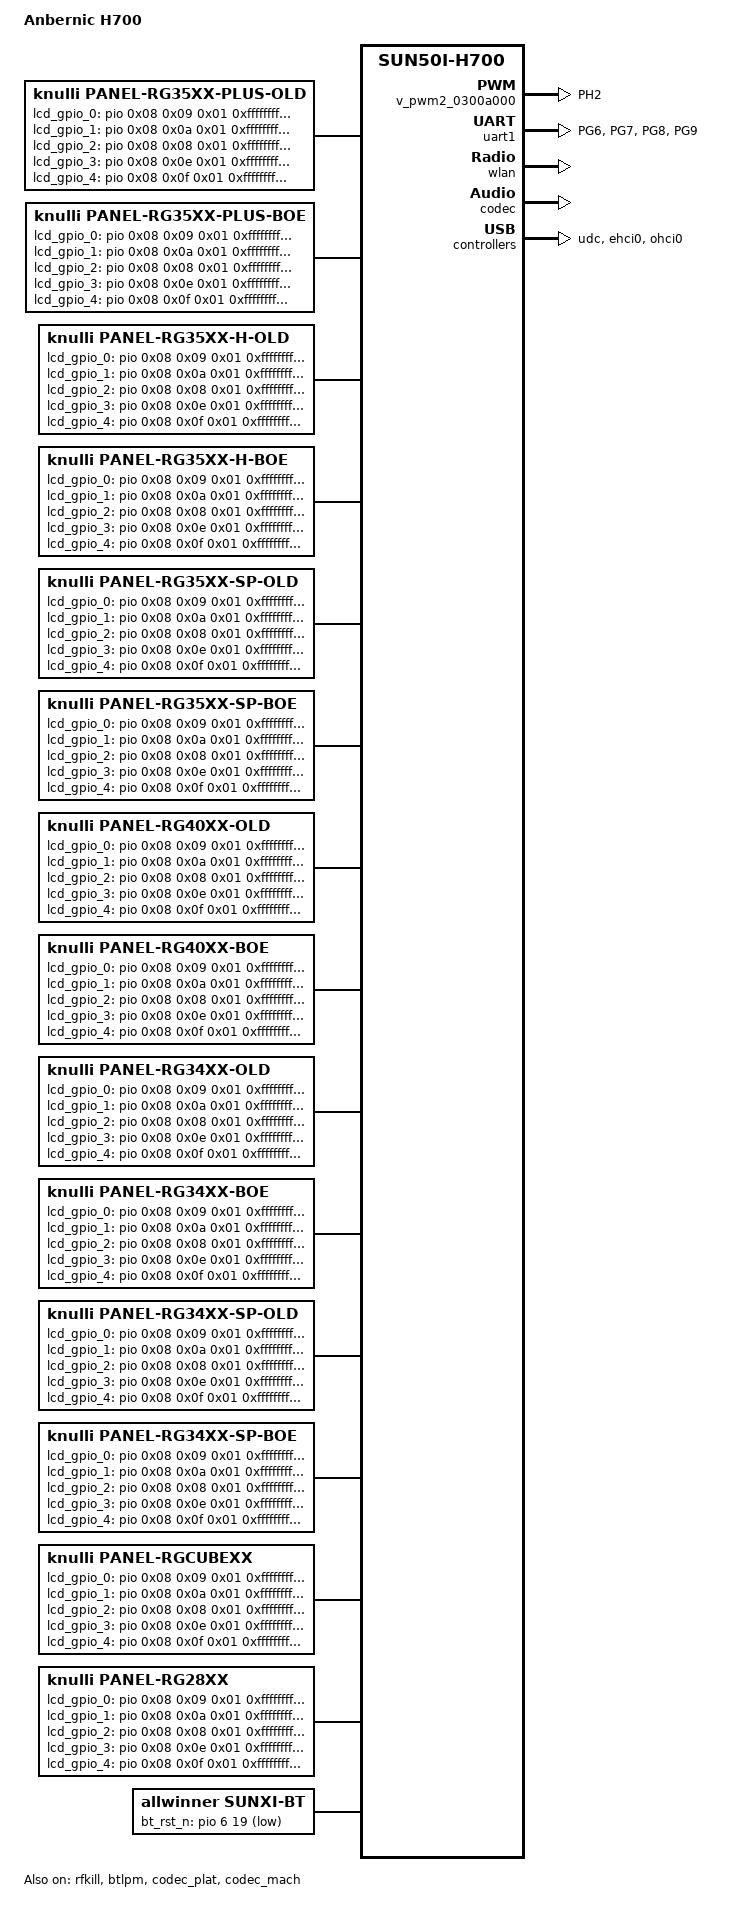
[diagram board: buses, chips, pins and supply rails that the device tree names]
// SPDX-License-Identifier: (GPL-2.0+ OR MIT)
/*
 * Anbernic H700, on the orangepi 5.4 sun50iw9 BSP.
 *
 * Generated from the vendor 4.9 device tree by
 * board/allwinner/h700/scripts/build_dts.py.  The vendor U-Boot 2018
 * shares this DTB with the kernel: it wants the legacy /clocks tree, the
 * sys_config nodes under /soc and allwinner,* pin properties, which the 5.4
 * kernel either ignores or understands as a fallback.
 */

/dts-v1/;

#include "sun50i-h700-anbernic.dtsi"

/ {
	model = "Anbernic H700";
	/* the extlinux entry this tree belongs to (S01knulli-device) */
	knulli,device = "select";

	joypad: rocknix-singleadc-joypad {
		joypad-name = "Anbernic RG35XX-Plus Controller";
		amux-count = <0>;
		rocknix,dpad-joystick;

		keyl3 {
			label = "GPIO Key L3";
			gpios = <&pio 4 8 (GPIO_ACTIVE_LOW | GPIO_PULL_UP)>; /* PE8 */
			linux,code = <BTN_THUMBL>;
		};

		keyr3 {
			label = "GPIO Key R3";
			gpios = <&pio 4 9 (GPIO_ACTIVE_LOW | GPIO_PULL_UP)>; /* PE9 */
			linux,code = <BTN_THUMBR>;
		};

		keymenu {
			label = "GPIO Key Menu";
			gpios = <&pio 4 3 (GPIO_ACTIVE_LOW | GPIO_PULL_UP)>; /* PE3 */
			linux,code = <BTN_MODE>;
		};

		keyvol-up {
			label = "GPIO Key Vol up";
			gpios = <&pio 4 1 (GPIO_ACTIVE_LOW | GPIO_PULL_UP)>; /* PE1 */
			linux,code = <KEY_VOLUMEUP>;
		};

		keyvol-down {
			label = "GPIO Key vol down";
			gpios = <&pio 4 2 (GPIO_ACTIVE_LOW | GPIO_PULL_UP)>; /* PE2 */
			linux,code = <KEY_VOLUMEDOWN>;
		};
	};
};

&dram {
	dram_tpr13 = <0x2000c60>;
};

/ {
	uboot-display {
		v_disp_01000000: disp@01000000 {
			hdmi_mode_check = <0x01>;
			fb0_width = <0x00>;
			fb0_height = <0x00>;
		};

		v_lcd0_01c0c000: lcd0@01c0c000 {
			lcd_driver_name = "fog_fj035fhd05_v1";
			lcd_x = <0x280>;
			lcd_y = <0x1e0>;
			lcd_dclk_freq = <0x18>;
			lcd_hbp = <0x2e>;
			lcd_ht = <0x302>;
			lcd_hspw = <0x14>;
			lcd_vbp = <0x0f>;
			lcd_vt = <0x208>;
			lcd_vspw = <0x04>;
			lcd_frm = <0x01>;
			lcd_hv_clk_phase = <0x02>;
			lcd_hv_sync_polarity = <0x03>;
		};

		v_pwm2_0300a000: pwm2@0300a000 {
			pinctrl-0 = <&v_pwm2_0>;
			pinctrl-1 = <&v_pwm2_1>;
			clk_bypass_output = <0x01>;
			status = "okay";
		};
	};
};

&soc {
		charger0 {
			pmu_safe_vol = <0xd7a>;
		};

		dram_select_para {
			select_mode = <0x01>;
			select_gpio0 = <&pio 0x07 0x06 0x00 0x01 0xffffffff 0xffffffff>;
			select_gpio1 = <&pio 0x07 0x07 0x00 0x01 0xffffffff 0xffffffff>;
			select_gpio2 = <&pio 0x07 0x08 0x00 0x01 0xffffffff 0xffffffff>;
			select_gpio3 = <&pio 0x07 0x0a 0x00 0x01 0xffffffff 0xffffffff>;
		};

		dram_para14 {
			dram_clk = <0x2a0>;
			dram_type = <0x07>;
			dram_dx_odt = <0x6060606>;
			dram_dx_dri = <0xd0d0d0d>;
			dram_ca_dri = <0x1919>;
			dram_odt_en = <0x9988eeee>;
			dram_mr0 = <0x00>;
			dram_mr1 = <0xc3>;
			dram_mr2 = <0x06>;
			dram_mr3 = <0x01>;
			dram_tpr2 = <0x01>;
			dram_tpr6 = <0x2fb08080>;
			dram_tpr10 = <0x402f4489>;
			dram_tpr11 = <0xe0e0f0e>;
			dram_tpr12 = <0xf10110f>;
			dram_tpr13 = <0x8c60>;
		};

		dram_para15 {
			dram_clk = <0x2a0>;
			dram_type = <0x08>;
			dram_odt_en = <0x7887bbbb>;
			dram_para1 = <0x310a>;
			dram_para2 = <0x00>;
			dram_mr0 = <0x00>;
			dram_mr1 = <0x34>;
			dram_mr2 = <0x1b>;
			dram_mr3 = <0x33>;
			dram_mr4 = <0x03>;
			dram_mr11 = <0x04>;
			dram_mr12 = <0x72>;
			dram_mr14 = <0x09>;
			dram_mr22 = <0x24>;
			dram_tpr2 = <0x01>;
			dram_tpr6 = <0x40808080>;
			dram_tpr10 = <0x402f6633>;
			dram_tpr13 = <0x2008c60>;
		};
};

&pio {
	lcd_id_pin: lcd-id-pin {
		allwinner,pull = <1>;
	};

		v_pwm2_0: v-pwm2-0 {
			allwinner,pins = "PH2";
			allwinner,function = "pwm2";
			allwinner,muxsel = <0x04>;
			allwinner,drive = <0xffffffff>;
			allwinner,pull = <0x00>;
			allwinner,data = <0xffffffff>;
			drive-strength = <10>;
		};

		v_pwm2_1: v-pwm2-1 {
			allwinner,pins = "PH2";
			allwinner,function = "io_disabled";
			allwinner,muxsel = <0x07>;
			allwinner,drive = <0xffffffff>;
			allwinner,pull = <0x00>;
			allwinner,data = <0xffffffff>;
			drive-strength = <10>;
			function = "gpio_in";
		};

		v_uart0_1: v-uart0-1 {
			allwinner,pins = "PH0", "PH1";
			allwinner,function = "uart0";
			allwinner,muxsel = <0x07>;
			allwinner,drive = <0x01>;
			allwinner,pull = <0x00>;
		};

		v_sdc0_0: v-sdc0-0 {
			allwinner,pins = "PF0", "PF1", "PF2", "PF3", "PF4", "PF5";
			allwinner,function = "sdc0";
			allwinner,muxsel = <0x02>;
			allwinner,drive = <0x03>;
			allwinner,pull = <0x01>;
		};

		v_sdc2_0: v-sdc2-0 {
			allwinner,pins = "PC1", "PC5", "PC6", "PC8", "PC9", "PC10", "PC11", "PC13", "PC14", "PC15", "PC16";
			allwinner,function = "sdc2";
			allwinner,muxsel = <0x03>;
			allwinner,drive = <0x02>;
			allwinner,pull = <0x01>;
		};

		v_sdc2_2: v-sdc2-2 {
			allwinner,pins = "PC0";
			allwinner,function = "sdc2";
			allwinner,muxsel = <0x03>;
			allwinner,drive = <0x02>;
			allwinner,pull = <0x02>;
		};

		v_sdc2_1: v-sdc2-1 {
			allwinner,pins = "PC0", "PC1", "PC5", "PC6", "PC8", "PC9", "PC10", "PC11", "PC13", "PC14", "PC15", "PC16";
			allwinner,function = "io_disabled";
			allwinner,muxsel = <0x07>;
			allwinner,drive = <0x01>;
			allwinner,pull = <0x01>;
			function = "gpio_in";
		};

		v_uart1_0: v-uart1-0 {
			allwinner,pins = "PG6", "PG7", "PG8", "PG9";
			allwinner,pname = "uart1_tx", "uart1_rx", "uart1_rts", "uart1_cts";
			allwinner,function = "uart1";
			allwinner,muxsel = <0x02>;
			allwinner,drive = <0x01>;
			allwinner,pull = <0x01>;
		};

		v_uart1_1: v-uart1-1 {
			allwinner,pins = "PG6", "PG7", "PG8", "PG9";
			allwinner,function = "io_disabled";
			allwinner,muxsel = <0x07>;
			allwinner,drive = <0x01>;
			allwinner,pull = <0x00>;
			function = "gpio_in";
		};

		v_sdc1_0: v-sdc1-0 {
			allwinner,pins = "PG0", "PG1", "PG2", "PG3", "PG4", "PG5";
			allwinner,function = "sdc1";
			allwinner,muxsel = <0x02>;
			allwinner,drive = <0x03>;
			allwinner,pull = <0x01>;
		};

		v_sdc1_1: v-sdc1-1 {
			allwinner,pins = "PG0", "PG1", "PG2", "PG3", "PG4", "PG5";
			allwinner,function = "io_disabled";
			allwinner,muxsel = <0x07>;
			allwinner,drive = <0x01>;
			allwinner,pull = <0x01>;
			function = "gpio_in";
		};

		v_clk_losc_0: v-clk-losc-0 {
			allwinner,pins = "PG10";
			allwinner,function = "x32kfout";
			allwinner,muxsel = <0x03>;
			allwinner,drive = <0x02>;
			allwinner,pull = <0x01>;
		};
};

&twi5 {
		v_pmu: pmu {
			v_usb_power_supply: usb_power_supply {
				allen_usb2_id_det = <&pio 0x08 0x06 0x01 0x02 0xffffffff 0x00>;
				allen_usb2_vbus_en = <&pio 0x08 0x07 0x01 0x01 0xffffffff 0x00>;
				allen_usb2_pwr_en = <&pio 0x04 0x05 0x01 0x00 0xffffffff 0x00>;
			};

			v_bat_power_supply: bat-power-supply {
				pmu_battery_cap = <0xbb8>;
				pmu_battery_warning_level1 = <0x05>;
				wakeup_bat_out;
				wakeup_bat_untemp_work;
				wakeup_bat_ovtemp_work;
				low_pwr_led = <&pio 0x08 0x0b 0x01 0x01 0xffffffff 0x00>;
				moto_pwm_gpio = <&pio 0x07 0x02 0x01 0x01 0xffffffff 0x00>;
			};
		};
};

&disp {
	hdmi_mode_check = <0x01>;
	fb0_width = <0x00>;
	fb0_height = <0x00>;
	/* fb0 is sized at boot: room for a double-buffered 1280x720 HDMI fb */
	fb0_buffer_num = <6>;
};

&lcd0 {
	lcd_driver_name = "fog_fj035fhd05_v1";
	lcd_x = <0x280>;
	lcd_y = <0x1e0>;
	lcd_dclk_freq = <0x18>;
	lcd_hbp = <0x2e>;
	lcd_ht = <0x302>;
	lcd_hspw = <0x14>;
	lcd_vbp = <0x0f>;
	lcd_vt = <0x208>;
	lcd_vspw = <0x04>;
	lcd_frm = <0x01>;
	lcd_hv_clk_phase = <0x02>;
	lcd_hv_sync_polarity = <0x03>;
	/* init tables in the disp2 panel driver: PE6 high (pull-up) / low */
	lcd_panel_init = "rg35xx-plus-old", "rg35xx-plus-boe";
	lcd_id_gpio = <&pio 4 6 0 1 0xffffffff 0>;
};

/* bluetooth side of the RTL8821CS */
&uart1 {
	pinctrl-names = "default", "sleep";
	pinctrl-0 = <&v_uart1_0>;
	pinctrl-1 = <&v_uart1_1>;
	status = "okay";
};

/* RTL8821CS: PG18 wifi enable, PG19 bt reset, PG15/PG16 host wake, PG17
 * bt wake, cldo4 the module rail, and the 32 kHz fanout on PG10.  bt_rst_n
 * is active low for sunxi-bt: probe drives the assert level, on releases it. */
&rfkill {
	pinctrl-names = "default";
	pinctrl-0 = <&v_clk_losc_0>;
	status = "okay";

	wlan {
		compatible = "allwinner,sunxi-wlan";
		clocks = <&rtc_ccu CLK_OSC32K_OUT>;
		clock-names = "32k-fanout";
		assigned-clocks = <&rtc_ccu CLK_OSC32K_OUT>;
		assigned-clock-parents = <&rtc_ccu CLK_DCXO_32K_OUT>;
		wlan_busnum = <1>;
		wlan_power = "axp2202-cldo4";
		wlan_regon = <&pio 6 18 GPIO_ACTIVE_HIGH>; /* PG18 */
		wlan_hostwake = <&pio 6 15 GPIO_ACTIVE_HIGH>; /* PG15 */
	};

	bt {
		compatible = "allwinner,sunxi-bt";
		clocks = <&rtc_ccu CLK_OSC32K_OUT>;
		clock-names = "32k-fanout";
		bt_rst_n = <&pio 6 19 GPIO_ACTIVE_LOW>; /* PG19 */
	};
};

&btlpm {
	uart_index = <1>;
	bt_wake = <&pio 6 17 GPIO_ACTIVE_HIGH>; /* PG17 */
	bt_hostwake = <&pio 6 16 GPIO_ACTIVE_HIGH>; /* PG16 */
	status = "okay";
};

/* Internal codec, card "audiocodec".  PI5 enables the speaker amplifier on
 * cldo1; PI3 is the headphone jack, high when a plug is in (kernel patch
 * 0008 mutes the amplifier while it is). */
&codec {
	lineout_vol = <0x1f>;
	tx_hub_en;
	pa_pin_max = <1>;
	pa_pin_0 = <&pio 8 5 GPIO_ACTIVE_HIGH>; /* PI5 */
	pa_pin_level_0 = <1>;
	pa_pin_msleep_0 = <100>;
	pa-supply = <&v_cldo1>;
	hp-det-gpios = <&pio 8 3 GPIO_ACTIVE_HIGH>; /* PI3 */
	status = "okay";
};

&codec_plat {
	status = "okay";
};

&codec_mach {
	status = "okay";
};

/* third reg: the EHCI2 PMU block, whose SIDDQ phy0 needs cleared (0024) */
&udc {
	reg = <0x0 0x05100000 0x0 0x1000>,
	      <0x0 0x00000000 0x0 0x100>,
	      <0x0 0x05310800 0x0 0x100>;
	clocks = <&ccu CLK_BUS_OTG>, <&ccu CLK_USB_PHY0>, <&ccu CLK_USB_PHY2>, <&ccu CLK_BUS_EHCI2>;
	clock-names = "bus_otg", "phy", "phy2", "bus_ehci2";
	resets = <&ccu RST_BUS_OTG>, <&ccu RST_USB_PHY0>, <&ccu RST_USB_PHY2>, <&ccu RST_BUS_EHCI2>;
	reset-names = "otg", "phy", "phy2", "ehci2";
	det_vbus_supply = <&v_usb_power_supply>;
	status = "okay";
};

&ehci0 {
	drvvbus-supply = <&v_drivevbus>;
	status = "okay";
};

&ohci0 {
	drvvbus-supply = <&v_drivevbus>;
	status = "okay";
};

/* first boot: every panel, switched at runtime through
 * /sys/class/disp/disp/attr/lcd_panel (see h700-panels.conf) */
/ {
	panel-rg35xx-plus-old {
		compatible = "knulli,panel-rg35xx-plus-old";
		lcd_used = <0x01>;
		lcd_driver_name = "fog_fj035fhd05_v1";
		lcd_backlight = <0x32>;
		lcd_if = <0x00>;
		lcd_hv_if = <0x00>;
		lcd_x = <0x280>;
		lcd_y = <0x1e0>;
		lcd_width = <0x96>;
		lcd_height = <0x5e>;
		lcd_dclk_freq = <0x18>;
		lcd_pwm_used = <0x01>;
		lcd_pwm_ch = <0x00>;
		lcd_pwm_freq = <0xc350>;
		lcd_pwm_pol = <0x01>;
		lcd_pwm_max_limit = <0xff>;
		lcd_hbp = <0x2e>;
		lcd_ht = <0x302>;
		lcd_hspw = <0x14>;
		lcd_vbp = <0x0f>;
		lcd_vt = <0x208>;
		lcd_vspw = <0x04>;
		lcd_lvds_if = <0x00>;
		lcd_lvds_colordepth = <0x00>;
		lcd_lvds_mode = <0x00>;
		lcd_frm = <0x01>;
		lcd_hv_clk_phase = <0x02>;
		lcd_hv_sync_polarity = <0x03>;
		lcd_gamma_en = <0x00>;
		lcd_bright_curve_en = <0x00>;
		lcd_cmap_en = <0x00>;
		deu_mode = <0x00>;
		lcdgamma4iep = <0x16>;
		smart_color = <0x5a>;
		lcd_pin_power;
		lcd_power;
		lcd_bl_en;
		lcd_gpio_0 = <&pio 0x08 0x09 0x01 0xffffffff 0xffffffff 0x01>;
		lcd_gpio_1 = <&pio 0x08 0x0a 0x01 0xffffffff 0xffffffff 0x01>;
		lcd_gpio_2 = <&pio 0x08 0x08 0x01 0xffffffff 0xffffffff 0x01>;
		lcd_gpio_3 = <&pio 0x08 0x0e 0x01 0xffffffff 0xffffffff 0x01>;
		lcd_gpio_4 = <&pio 0x08 0x0f 0x01 0xffffffff 0xffffffff 0x01>;
		lcd_panel_init = "rg35xx-plus-old";
	};

	panel-rg35xx-plus-boe {
		compatible = "knulli,panel-rg35xx-plus-boe";
		lcd_used = <0x01>;
		lcd_driver_name = "fog_fj035fhd05_v1";
		lcd_backlight = <0x32>;
		lcd_if = <0x00>;
		lcd_hv_if = <0x00>;
		lcd_x = <0x280>;
		lcd_y = <0x1e0>;
		lcd_width = <0x96>;
		lcd_height = <0x5e>;
		lcd_dclk_freq = <0x18>;
		lcd_pwm_used = <0x01>;
		lcd_pwm_ch = <0x00>;
		lcd_pwm_freq = <0xc350>;
		lcd_pwm_pol = <0x01>;
		lcd_pwm_max_limit = <0xff>;
		lcd_hbp = <0x2e>;
		lcd_ht = <0x302>;
		lcd_hspw = <0x14>;
		lcd_vbp = <0x0f>;
		lcd_vt = <0x208>;
		lcd_vspw = <0x04>;
		lcd_lvds_if = <0x00>;
		lcd_lvds_colordepth = <0x00>;
		lcd_lvds_mode = <0x00>;
		lcd_frm = <0x01>;
		lcd_hv_clk_phase = <0x02>;
		lcd_hv_sync_polarity = <0x03>;
		lcd_gamma_en = <0x00>;
		lcd_bright_curve_en = <0x00>;
		lcd_cmap_en = <0x00>;
		deu_mode = <0x00>;
		lcdgamma4iep = <0x16>;
		smart_color = <0x5a>;
		lcd_pin_power;
		lcd_power;
		lcd_bl_en;
		lcd_gpio_0 = <&pio 0x08 0x09 0x01 0xffffffff 0xffffffff 0x01>;
		lcd_gpio_1 = <&pio 0x08 0x0a 0x01 0xffffffff 0xffffffff 0x01>;
		lcd_gpio_2 = <&pio 0x08 0x08 0x01 0xffffffff 0xffffffff 0x01>;
		lcd_gpio_3 = <&pio 0x08 0x0e 0x01 0xffffffff 0xffffffff 0x01>;
		lcd_gpio_4 = <&pio 0x08 0x0f 0x01 0xffffffff 0xffffffff 0x01>;
		lcd_panel_init = "rg35xx-plus-boe";
	};

	panel-rg35xx-h-old {
		compatible = "knulli,panel-rg35xx-h-old";
		lcd_used = <0x01>;
		lcd_driver_name = "fog_fj035fhd05_v1";
		lcd_backlight = <0x32>;
		lcd_if = <0x00>;
		lcd_hv_if = <0x00>;
		lcd_x = <0x280>;
		lcd_y = <0x1e0>;
		lcd_width = <0x96>;
		lcd_height = <0x5e>;
		lcd_dclk_freq = <0x18>;
		lcd_pwm_used = <0x01>;
		lcd_pwm_ch = <0x00>;
		lcd_pwm_freq = <0xc350>;
		lcd_pwm_pol = <0x01>;
		lcd_pwm_max_limit = <0xff>;
		lcd_hbp = <0x2e>;
		lcd_ht = <0x302>;
		lcd_hspw = <0x14>;
		lcd_vbp = <0x0f>;
		lcd_vt = <0x208>;
		lcd_vspw = <0x04>;
		lcd_lvds_if = <0x00>;
		lcd_lvds_colordepth = <0x00>;
		lcd_lvds_mode = <0x00>;
		lcd_frm = <0x01>;
		lcd_hv_clk_phase = <0x02>;
		lcd_hv_sync_polarity = <0x03>;
		lcd_gamma_en = <0x00>;
		lcd_bright_curve_en = <0x00>;
		lcd_cmap_en = <0x00>;
		deu_mode = <0x00>;
		lcdgamma4iep = <0x16>;
		smart_color = <0x5a>;
		lcd_pin_power;
		lcd_power;
		lcd_bl_en;
		lcd_gpio_0 = <&pio 0x08 0x09 0x01 0xffffffff 0xffffffff 0x01>;
		lcd_gpio_1 = <&pio 0x08 0x0a 0x01 0xffffffff 0xffffffff 0x01>;
		lcd_gpio_2 = <&pio 0x08 0x08 0x01 0xffffffff 0xffffffff 0x01>;
		lcd_gpio_3 = <&pio 0x08 0x0e 0x01 0xffffffff 0xffffffff 0x01>;
		lcd_gpio_4 = <&pio 0x08 0x0f 0x01 0xffffffff 0xffffffff 0x01>;
		lcd_panel_init = "rg35xx-h-old";
	};

	panel-rg35xx-h-boe {
		compatible = "knulli,panel-rg35xx-h-boe";
		lcd_used = <0x01>;
		lcd_driver_name = "fog_fj035fhd05_v1";
		lcd_backlight = <0x32>;
		lcd_if = <0x00>;
		lcd_hv_if = <0x00>;
		lcd_x = <0x280>;
		lcd_y = <0x1e0>;
		lcd_width = <0x96>;
		lcd_height = <0x5e>;
		lcd_dclk_freq = <0x18>;
		lcd_pwm_used = <0x01>;
		lcd_pwm_ch = <0x00>;
		lcd_pwm_freq = <0xc350>;
		lcd_pwm_pol = <0x01>;
		lcd_pwm_max_limit = <0xff>;
		lcd_hbp = <0x2e>;
		lcd_ht = <0x302>;
		lcd_hspw = <0x14>;
		lcd_vbp = <0x0f>;
		lcd_vt = <0x208>;
		lcd_vspw = <0x04>;
		lcd_lvds_if = <0x00>;
		lcd_lvds_colordepth = <0x00>;
		lcd_lvds_mode = <0x00>;
		lcd_frm = <0x01>;
		lcd_hv_clk_phase = <0x02>;
		lcd_hv_sync_polarity = <0x03>;
		lcd_gamma_en = <0x00>;
		lcd_bright_curve_en = <0x00>;
		lcd_cmap_en = <0x00>;
		deu_mode = <0x00>;
		lcdgamma4iep = <0x16>;
		smart_color = <0x5a>;
		lcd_pin_power;
		lcd_power;
		lcd_bl_en;
		lcd_gpio_0 = <&pio 0x08 0x09 0x01 0xffffffff 0xffffffff 0x01>;
		lcd_gpio_1 = <&pio 0x08 0x0a 0x01 0xffffffff 0xffffffff 0x01>;
		lcd_gpio_2 = <&pio 0x08 0x08 0x01 0xffffffff 0xffffffff 0x01>;
		lcd_gpio_3 = <&pio 0x08 0x0e 0x01 0xffffffff 0xffffffff 0x01>;
		lcd_gpio_4 = <&pio 0x08 0x0f 0x01 0xffffffff 0xffffffff 0x01>;
		lcd_panel_init = "rg35xx-h-boe";
	};

	panel-rg35xx-sp-old {
		compatible = "knulli,panel-rg35xx-sp-old";
		lcd_used = <0x01>;
		lcd_driver_name = "fog_fj035fhd05_v1";
		lcd_backlight = <0x32>;
		lcd_if = <0x00>;
		lcd_hv_if = <0x00>;
		lcd_x = <0x280>;
		lcd_y = <0x1e0>;
		lcd_width = <0x96>;
		lcd_height = <0x5e>;
		lcd_dclk_freq = <0x30>;
		lcd_pwm_used = <0x01>;
		lcd_pwm_ch = <0x00>;
		lcd_pwm_freq = <0xc350>;
		lcd_pwm_pol = <0x01>;
		lcd_pwm_max_limit = <0xff>;
		lcd_hbp = <0x30>;
		lcd_ht = <0x586>;
		lcd_hspw = <0x08>;
		lcd_vbp = <0x30>;
		lcd_vt = <0x236>;
		lcd_vspw = <0x04>;
		lcd_lvds_if = <0x00>;
		lcd_lvds_colordepth = <0x00>;
		lcd_lvds_mode = <0x00>;
		lcd_frm = <0x01>;
		lcd_hv_clk_phase = <0x02>;
		lcd_hv_sync_polarity = <0x03>;
		lcd_gamma_en = <0x00>;
		lcd_bright_curve_en = <0x00>;
		lcd_cmap_en = <0x00>;
		deu_mode = <0x00>;
		lcdgamma4iep = <0x16>;
		smart_color = <0x5a>;
		lcd_pin_power;
		lcd_power;
		lcd_bl_en;
		lcd_gpio_0 = <&pio 0x08 0x09 0x01 0xffffffff 0xffffffff 0x01>;
		lcd_gpio_1 = <&pio 0x08 0x0a 0x01 0xffffffff 0xffffffff 0x01>;
		lcd_gpio_2 = <&pio 0x08 0x08 0x01 0xffffffff 0xffffffff 0x01>;
		lcd_gpio_3 = <&pio 0x08 0x0e 0x01 0xffffffff 0xffffffff 0x01>;
		lcd_gpio_4 = <&pio 0x08 0x0f 0x01 0xffffffff 0xffffffff 0x01>;
		lcd_panel_init = "rg35xx-sp-old";
	};

	panel-rg35xx-sp-boe {
		compatible = "knulli,panel-rg35xx-sp-boe";
		lcd_used = <0x01>;
		lcd_driver_name = "fog_fj035fhd05_v1";
		lcd_backlight = <0x32>;
		lcd_if = <0x00>;
		lcd_hv_if = <0x00>;
		lcd_x = <0x280>;
		lcd_y = <0x1e0>;
		lcd_width = <0x96>;
		lcd_height = <0x5e>;
		lcd_dclk_freq = <0x30>;
		lcd_pwm_used = <0x01>;
		lcd_pwm_ch = <0x00>;
		lcd_pwm_freq = <0xc350>;
		lcd_pwm_pol = <0x01>;
		lcd_pwm_max_limit = <0xff>;
		lcd_hbp = <0x30>;
		lcd_ht = <0x586>;
		lcd_hspw = <0x08>;
		lcd_vbp = <0x30>;
		lcd_vt = <0x236>;
		lcd_vspw = <0x04>;
		lcd_lvds_if = <0x00>;
		lcd_lvds_colordepth = <0x00>;
		lcd_lvds_mode = <0x00>;
		lcd_frm = <0x01>;
		lcd_hv_clk_phase = <0x02>;
		lcd_hv_sync_polarity = <0x03>;
		lcd_gamma_en = <0x00>;
		lcd_bright_curve_en = <0x00>;
		lcd_cmap_en = <0x00>;
		deu_mode = <0x00>;
		lcdgamma4iep = <0x16>;
		smart_color = <0x5a>;
		lcd_pin_power;
		lcd_power;
		lcd_bl_en;
		lcd_gpio_0 = <&pio 0x08 0x09 0x01 0xffffffff 0xffffffff 0x01>;
		lcd_gpio_1 = <&pio 0x08 0x0a 0x01 0xffffffff 0xffffffff 0x01>;
		lcd_gpio_2 = <&pio 0x08 0x08 0x01 0xffffffff 0xffffffff 0x01>;
		lcd_gpio_3 = <&pio 0x08 0x0e 0x01 0xffffffff 0xffffffff 0x01>;
		lcd_gpio_4 = <&pio 0x08 0x0f 0x01 0xffffffff 0xffffffff 0x01>;
		lcd_panel_init = "rg35xx-sp-boe";
	};

	panel-rg40xx-old {
		compatible = "knulli,panel-rg40xx-old";
		lcd_used = <0x01>;
		lcd_driver_name = "fog_fj035fhd05_v1";
		lcd_backlight = <0x32>;
		lcd_if = <0x00>;
		lcd_hv_if = <0x00>;
		lcd_x = <0x280>;
		lcd_y = <0x1e0>;
		lcd_width = <0x96>;
		lcd_height = <0x5e>;
		lcd_dclk_freq = <0x18>;
		lcd_pwm_used = <0x01>;
		lcd_pwm_ch = <0x00>;
		lcd_pwm_freq = <0xc350>;
		lcd_pwm_pol = <0x01>;
		lcd_pwm_max_limit = <0xff>;
		lcd_hbp = <0x2e>;
		lcd_ht = <0x302>;
		lcd_hspw = <0x14>;
		lcd_vbp = <0x0f>;
		lcd_vt = <0x20a>;
		lcd_vspw = <0x04>;
		lcd_lvds_if = <0x00>;
		lcd_lvds_colordepth = <0x00>;
		lcd_lvds_mode = <0x00>;
		lcd_frm = <0x01>;
		lcd_hv_clk_phase = <0x02>;
		lcd_hv_sync_polarity = <0x03>;
		lcd_gamma_en = <0x00>;
		lcd_bright_curve_en = <0x00>;
		lcd_cmap_en = <0x00>;
		deu_mode = <0x00>;
		lcdgamma4iep = <0x16>;
		smart_color = <0x5a>;
		lcd_pin_power;
		lcd_power;
		lcd_bl_en;
		lcd_gpio_0 = <&pio 0x08 0x09 0x01 0xffffffff 0xffffffff 0x01>;
		lcd_gpio_1 = <&pio 0x08 0x0a 0x01 0xffffffff 0xffffffff 0x01>;
		lcd_gpio_2 = <&pio 0x08 0x08 0x01 0xffffffff 0xffffffff 0x01>;
		lcd_gpio_3 = <&pio 0x08 0x0e 0x01 0xffffffff 0xffffffff 0x01>;
		lcd_gpio_4 = <&pio 0x08 0x0f 0x01 0xffffffff 0xffffffff 0x01>;
		lcd_panel_init = "rg40xx-old";
	};

	panel-rg40xx-boe {
		compatible = "knulli,panel-rg40xx-boe";
		lcd_used = <0x01>;
		lcd_driver_name = "fog_fj035fhd05_v1";
		lcd_backlight = <0x32>;
		lcd_if = <0x00>;
		lcd_hv_if = <0x00>;
		lcd_x = <0x280>;
		lcd_y = <0x1e0>;
		lcd_width = <0x96>;
		lcd_height = <0x5e>;
		lcd_dclk_freq = <0x18>;
		lcd_pwm_used = <0x01>;
		lcd_pwm_ch = <0x00>;
		lcd_pwm_freq = <0xc350>;
		lcd_pwm_pol = <0x01>;
		lcd_pwm_max_limit = <0xff>;
		lcd_hbp = <0x2e>;
		lcd_ht = <0x302>;
		lcd_hspw = <0x14>;
		lcd_vbp = <0x0f>;
		lcd_vt = <0x20a>;
		lcd_vspw = <0x04>;
		lcd_lvds_if = <0x00>;
		lcd_lvds_colordepth = <0x00>;
		lcd_lvds_mode = <0x00>;
		lcd_frm = <0x01>;
		lcd_hv_clk_phase = <0x02>;
		lcd_hv_sync_polarity = <0x03>;
		lcd_gamma_en = <0x00>;
		lcd_bright_curve_en = <0x00>;
		lcd_cmap_en = <0x00>;
		deu_mode = <0x00>;
		lcdgamma4iep = <0x16>;
		smart_color = <0x5a>;
		lcd_pin_power;
		lcd_power;
		lcd_bl_en;
		lcd_gpio_0 = <&pio 0x08 0x09 0x01 0xffffffff 0xffffffff 0x01>;
		lcd_gpio_1 = <&pio 0x08 0x0a 0x01 0xffffffff 0xffffffff 0x01>;
		lcd_gpio_2 = <&pio 0x08 0x08 0x01 0xffffffff 0xffffffff 0x01>;
		lcd_gpio_3 = <&pio 0x08 0x0e 0x01 0xffffffff 0xffffffff 0x01>;
		lcd_gpio_4 = <&pio 0x08 0x0f 0x01 0xffffffff 0xffffffff 0x01>;
		lcd_panel_init = "rg40xx-boe";
	};

	panel-rg34xx-old {
		compatible = "knulli,panel-rg34xx-old";
		lcd_used = <0x01>;
		lcd_driver_name = "rg34xx_v1";
		lcd_backlight = <0x32>;
		lcd_if = <0x00>;
		lcd_hv_if = <0x00>;
		lcd_x = <0x2d0>;
		lcd_y = <0x1e0>;
		lcd_width = <0x96>;
		lcd_height = <0x5e>;
		lcd_dclk_freq = <0x1a>;
		lcd_pwm_used = <0x01>;
		lcd_pwm_ch = <0x00>;
		lcd_pwm_freq = <0xc350>;
		lcd_pwm_pol = <0x01>;
		lcd_pwm_max_limit = <0xff>;
		lcd_hbp = <0x2e>;
		lcd_ht = <0x334>;
		lcd_hspw = <0x02>;
		lcd_vbp = <0x14>;
		lcd_vt = <0x218>;
		lcd_vspw = <0x05>;
		lcd_lvds_if = <0x00>;
		lcd_lvds_colordepth = <0x00>;
		lcd_lvds_mode = <0x00>;
		lcd_frm = <0x01>;
		lcd_hv_clk_phase = <0x01>;
		lcd_hv_sync_polarity = <0x03>;
		lcd_gamma_en = <0x00>;
		lcd_bright_curve_en = <0x00>;
		lcd_cmap_en = <0x00>;
		deu_mode = <0x00>;
		lcdgamma4iep = <0x16>;
		smart_color = <0x5a>;
		lcd_pin_power;
		lcd_power;
		lcd_bl_en;
		lcd_gpio_0 = <&pio 0x08 0x09 0x01 0xffffffff 0xffffffff 0x01>;
		lcd_gpio_1 = <&pio 0x08 0x0a 0x01 0xffffffff 0xffffffff 0x01>;
		lcd_gpio_2 = <&pio 0x08 0x08 0x01 0xffffffff 0xffffffff 0x01>;
		lcd_gpio_3 = <&pio 0x08 0x0e 0x01 0xffffffff 0xffffffff 0x01>;
		lcd_gpio_4 = <&pio 0x08 0x0f 0x01 0xffffffff 0xffffffff 0x01>;
		lcd_panel_init = "rg34xx-old";
	};

	panel-rg34xx-boe {
		compatible = "knulli,panel-rg34xx-boe";
		lcd_used = <0x01>;
		lcd_driver_name = "rg34xx_v1";
		lcd_backlight = <0x32>;
		lcd_if = <0x00>;
		lcd_hv_if = <0x00>;
		lcd_x = <0x2d0>;
		lcd_y = <0x1e0>;
		lcd_width = <0x96>;
		lcd_height = <0x5e>;
		lcd_dclk_freq = <0x1a>;
		lcd_pwm_used = <0x01>;
		lcd_pwm_ch = <0x00>;
		lcd_pwm_freq = <0xc350>;
		lcd_pwm_pol = <0x01>;
		lcd_pwm_max_limit = <0xff>;
		lcd_hbp = <0x2e>;
		lcd_ht = <0x334>;
		lcd_hspw = <0x02>;
		lcd_vbp = <0x14>;
		lcd_vt = <0x218>;
		lcd_vspw = <0x05>;
		lcd_lvds_if = <0x00>;
		lcd_lvds_colordepth = <0x00>;
		lcd_lvds_mode = <0x00>;
		lcd_frm = <0x01>;
		lcd_hv_clk_phase = <0x01>;
		lcd_hv_sync_polarity = <0x03>;
		lcd_gamma_en = <0x00>;
		lcd_bright_curve_en = <0x00>;
		lcd_cmap_en = <0x00>;
		deu_mode = <0x00>;
		lcdgamma4iep = <0x16>;
		smart_color = <0x5a>;
		lcd_pin_power;
		lcd_power;
		lcd_bl_en;
		lcd_gpio_0 = <&pio 0x08 0x09 0x01 0xffffffff 0xffffffff 0x01>;
		lcd_gpio_1 = <&pio 0x08 0x0a 0x01 0xffffffff 0xffffffff 0x01>;
		lcd_gpio_2 = <&pio 0x08 0x08 0x01 0xffffffff 0xffffffff 0x01>;
		lcd_gpio_3 = <&pio 0x08 0x0e 0x01 0xffffffff 0xffffffff 0x01>;
		lcd_gpio_4 = <&pio 0x08 0x0f 0x01 0xffffffff 0xffffffff 0x01>;
		lcd_panel_init = "rg34xx-boe";
	};

	panel-rg34xx-sp-old {
		compatible = "knulli,panel-rg34xx-sp-old";
		lcd_used = <0x01>;
		lcd_driver_name = "rg34xxsp_v1";
		lcd_backlight = <0x32>;
		lcd_if = <0x00>;
		lcd_hv_if = <0x00>;
		lcd_x = <0x2d0>;
		lcd_y = <0x1e0>;
		lcd_width = <0x96>;
		lcd_height = <0x5e>;
		lcd_dclk_freq = <0x1a>;
		lcd_pwm_used = <0x01>;
		lcd_pwm_ch = <0x00>;
		lcd_pwm_freq = <0xc350>;
		lcd_pwm_pol = <0x01>;
		lcd_pwm_max_limit = <0xff>;
		lcd_hbp = <0x2e>;
		lcd_ht = <0x334>;
		lcd_hspw = <0x02>;
		lcd_vbp = <0x14>;
		lcd_vt = <0x218>;
		lcd_vspw = <0x05>;
		lcd_lvds_if = <0x00>;
		lcd_lvds_colordepth = <0x00>;
		lcd_lvds_mode = <0x00>;
		lcd_frm = <0x00>;
		lcd_hv_clk_phase = <0x01>;
		lcd_hv_sync_polarity = <0x03>;
		lcd_gamma_en = <0x00>;
		lcd_bright_curve_en = <0x00>;
		lcd_cmap_en = <0x00>;
		deu_mode = <0x00>;
		lcdgamma4iep = <0x16>;
		smart_color = <0x5a>;
		lcd_pin_power;
		lcd_power;
		lcd_bl_en;
		lcd_gpio_0 = <&pio 0x08 0x09 0x01 0xffffffff 0xffffffff 0x01>;
		lcd_gpio_1 = <&pio 0x08 0x0a 0x01 0xffffffff 0xffffffff 0x01>;
		lcd_gpio_2 = <&pio 0x08 0x08 0x01 0xffffffff 0xffffffff 0x01>;
		lcd_gpio_3 = <&pio 0x08 0x0e 0x01 0xffffffff 0xffffffff 0x01>;
		lcd_gpio_4 = <&pio 0x08 0x0f 0x01 0xffffffff 0xffffffff 0x01>;
		lcd_panel_init = "rg34xx-sp-old";
	};

	panel-rg34xx-sp-boe {
		compatible = "knulli,panel-rg34xx-sp-boe";
		lcd_used = <0x01>;
		lcd_driver_name = "rg34xxsp_v1";
		lcd_backlight = <0x32>;
		lcd_if = <0x00>;
		lcd_hv_if = <0x00>;
		lcd_x = <0x2d0>;
		lcd_y = <0x1e0>;
		lcd_width = <0x96>;
		lcd_height = <0x5e>;
		lcd_dclk_freq = <0x1a>;
		lcd_pwm_used = <0x01>;
		lcd_pwm_ch = <0x00>;
		lcd_pwm_freq = <0xc350>;
		lcd_pwm_pol = <0x01>;
		lcd_pwm_max_limit = <0xff>;
		lcd_hbp = <0x2e>;
		lcd_ht = <0x334>;
		lcd_hspw = <0x02>;
		lcd_vbp = <0x14>;
		lcd_vt = <0x218>;
		lcd_vspw = <0x05>;
		lcd_lvds_if = <0x00>;
		lcd_lvds_colordepth = <0x00>;
		lcd_lvds_mode = <0x00>;
		lcd_frm = <0x00>;
		lcd_hv_clk_phase = <0x01>;
		lcd_hv_sync_polarity = <0x03>;
		lcd_gamma_en = <0x00>;
		lcd_bright_curve_en = <0x00>;
		lcd_cmap_en = <0x00>;
		deu_mode = <0x00>;
		lcdgamma4iep = <0x16>;
		smart_color = <0x5a>;
		lcd_pin_power;
		lcd_power;
		lcd_bl_en;
		lcd_gpio_0 = <&pio 0x08 0x09 0x01 0xffffffff 0xffffffff 0x01>;
		lcd_gpio_1 = <&pio 0x08 0x0a 0x01 0xffffffff 0xffffffff 0x01>;
		lcd_gpio_2 = <&pio 0x08 0x08 0x01 0xffffffff 0xffffffff 0x01>;
		lcd_gpio_3 = <&pio 0x08 0x0e 0x01 0xffffffff 0xffffffff 0x01>;
		lcd_gpio_4 = <&pio 0x08 0x0f 0x01 0xffffffff 0xffffffff 0x01>;
		lcd_panel_init = "rg34xx-sp-boe";
	};

	panel-rgcubexx {
		compatible = "knulli,panel-rgcubexx";
		lcd_used = <0x01>;
		lcd_driver_name = "fog_fj035fhd05_v1";
		lcd_backlight = <0x32>;
		lcd_if = <0x00>;
		lcd_hv_if = <0x00>;
		lcd_x = <0x2d0>;
		lcd_y = <0x2d0>;
		lcd_width = <0x96>;
		lcd_height = <0x5e>;
		lcd_dclk_freq = <0x30>;
		lcd_pwm_used = <0x01>;
		lcd_pwm_ch = <0x00>;
		lcd_pwm_freq = <0xc350>;
		lcd_pwm_pol = <0x01>;
		lcd_pwm_max_limit = <0xff>;
		lcd_hbp = <0x2e>;
		lcd_ht = <0x424>;
		lcd_hspw = <0x02>;
		lcd_vbp = <0x14>;
		lcd_vt = <0x2f3>;
		lcd_vspw = <0x05>;
		lcd_lvds_if = <0x00>;
		lcd_lvds_colordepth = <0x00>;
		lcd_lvds_mode = <0x00>;
		lcd_frm = <0x01>;
		lcd_hv_clk_phase = <0x00>;
		lcd_hv_sync_polarity = <0x00>;
		lcd_gamma_en = <0x00>;
		lcd_bright_curve_en = <0x00>;
		lcd_cmap_en = <0x00>;
		deu_mode = <0x00>;
		lcdgamma4iep = <0x16>;
		smart_color = <0x5a>;
		lcd_pin_power;
		lcd_power;
		lcd_bl_en;
		lcd_gpio_0 = <&pio 0x08 0x09 0x01 0xffffffff 0xffffffff 0x01>;
		lcd_gpio_1 = <&pio 0x08 0x0a 0x01 0xffffffff 0xffffffff 0x01>;
		lcd_gpio_2 = <&pio 0x08 0x08 0x01 0xffffffff 0xffffffff 0x01>;
		lcd_gpio_3 = <&pio 0x08 0x0e 0x01 0xffffffff 0xffffffff 0x01>;
		lcd_gpio_4 = <&pio 0x08 0x0f 0x01 0xffffffff 0xffffffff 0x01>;
		lcd_panel_init = "rgcubexx";
	};

	panel-rg28xx {
		compatible = "knulli,panel-rg28xx";
		lcd_used = <0x01>;
		lcd_driver_name = "fog_fj035fhd05_v1";
		lcd_backlight = <0x32>;
		lcd_if = <0x00>;
		lcd_hv_if = <0x00>;
		lcd_x = <0x1e0>;
		lcd_y = <0x280>;
		lcd_width = <0x96>;
		lcd_height = <0x5e>;
		lcd_dclk_freq = <0x18>;
		lcd_pwm_used = <0x01>;
		lcd_pwm_ch = <0x00>;
		lcd_pwm_freq = <0xc350>;
		lcd_pwm_pol = <0x01>;
		lcd_pwm_max_limit = <0xff>;
		lcd_hbp = <0x38>;
		lcd_ht = <0x24a>;
		lcd_hspw = <0x06>;
		lcd_vbp = <0x1a>;
		lcd_vt = <0x2ae>;
		lcd_vspw = <0x06>;
		lcd_lvds_if = <0x00>;
		lcd_lvds_colordepth = <0x00>;
		lcd_lvds_mode = <0x00>;
		lcd_frm = <0x00>;
		lcd_hv_clk_phase = <0x00>;
		lcd_hv_sync_polarity = <0x00>;
		lcd_gamma_en = <0x00>;
		lcd_bright_curve_en = <0x00>;
		lcd_cmap_en = <0x00>;
		deu_mode = <0x00>;
		lcdgamma4iep = <0x16>;
		smart_color = <0x5a>;
		lcd_pin_power;
		lcd_power;
		lcd_bl_en;
		lcd_gpio_0 = <&pio 0x08 0x09 0x01 0xffffffff 0xffffffff 0x01>;
		lcd_gpio_1 = <&pio 0x08 0x0a 0x01 0xffffffff 0xffffffff 0x01>;
		lcd_gpio_2 = <&pio 0x08 0x08 0x01 0xffffffff 0xffffffff 0x01>;
		lcd_gpio_3 = <&pio 0x08 0x0e 0x01 0xffffffff 0xffffffff 0x01>;
		lcd_gpio_4 = <&pio 0x08 0x0f 0x01 0xffffffff 0xffffffff 0x01>;
		lcd_panel_init = "rg28xx";
	};
};
